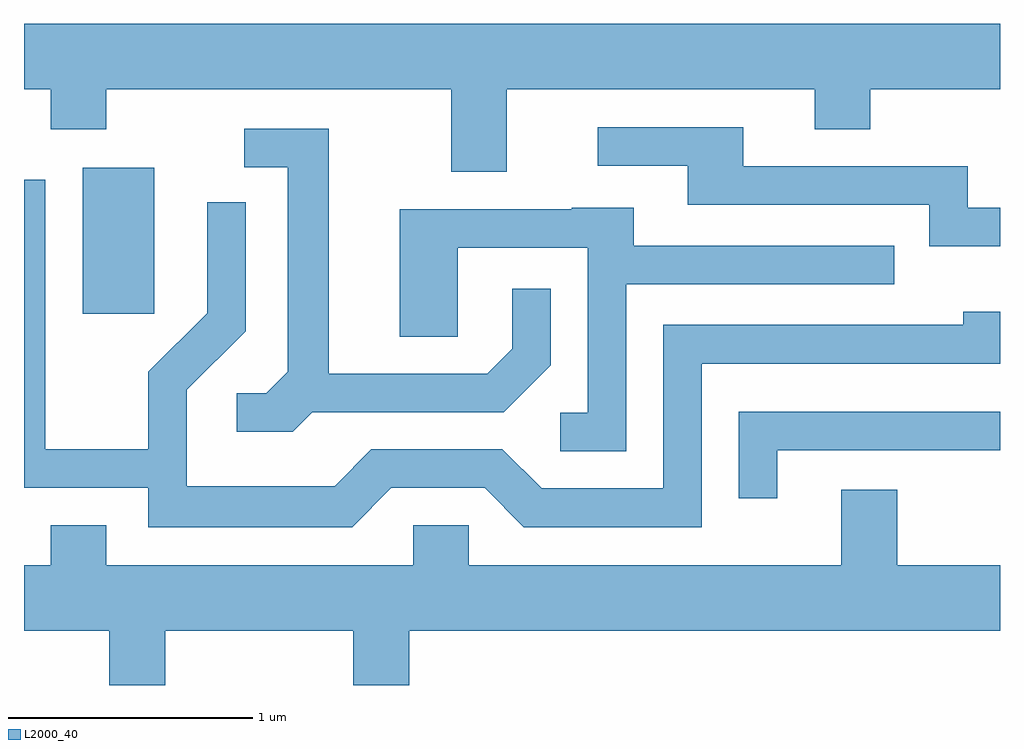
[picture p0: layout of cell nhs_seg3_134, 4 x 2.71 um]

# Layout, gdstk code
import gdstk
lib = gdstk.Library(unit=1e-6, precision=1e-09)
def R(c, l, rs):  # rectangles x0, y0, x1, y1
    for r in rs: c.add(gdstk.rectangle(r[:2], r[2:], *l))
def P(c, l, *ps):  # polygons
    for p in ps: c.add(gdstk.Polygon(p, *l))
L2000_40 = (2000, 40)

nhs_seg3_134 = lib.new_cell('nhs_seg3_134')
R(nhs_seg3_134, L2000_40, [(187.851,1249.416,188.144,1250.014)])
P(nhs_seg3_134, L2000_40, [(189.589,1250.336),(190.851,1250.336),(190.851,1250.171),(191.079,1250.171),(191.079,1250.336),(191.611,1250.336),(191.611,1250.604),(187.611,1250.604),(187.611,1250.336),(187.721,1250.336),(187.721,1250.171),(187.949,1250.171),(187.949,1250.336),(189.361,1250.336),(189.361,1249.996),(189.589,1249.996)],
  [(191.611,1249.849),(191.479,1249.849),(191.479,1250.019),(190.559,1250.019),(190.559,1250.179),(189.963,1250.179),(189.963,1250.021),(190.331,1250.021),(190.331,1249.861),(191.321,1249.861),(191.321,1249.691),(191.611,1249.691)],
  [(188.792,1249.011),(189.577,1249.011),(189.769,1249.204),(189.769,1249.518),(189.611,1249.518),(189.611,1249.272),(189.509,1249.169),(188.859,1249.169),(188.859,1250.174),(188.513,1250.174),(188.513,1250.016),(188.691,1250.016),(188.691,1249.177),(188.604,1249.089),(188.483,1249.089),(188.483,1248.931),(188.712,1248.931)],
  [(189.117,1248.701),(189.499,1248.701),(189.659,1248.541),(190.389,1248.541),(190.389,1249.211),(191.611,1249.211),(191.611,1249.424),(191.461,1249.424),(191.461,1249.369),(190.231,1249.369),(190.231,1248.699),(189.732,1248.699),(189.572,1248.859),(189.034,1248.859),(188.884,1248.709),(188.279,1248.709),(188.279,1249.104),(188.519,1249.344),(188.519,1249.873),(188.361,1249.873),(188.361,1249.417),(188.121,1249.177),(188.121,1248.859),(187.699,1248.859),(187.699,1249.964),(187.611,1249.964),(187.611,1248.701),(188.121,1248.701),(188.121,1248.541),(188.957,1248.541)],
  [(190.079,1249.536),(191.178,1249.536),(191.178,1249.694),(190.109,1249.694),(190.109,1249.849),(189.855,1249.849),(189.855,1249.844),(189.151,1249.844),(189.151,1249.321),(189.389,1249.321),(189.389,1249.686),(189.921,1249.686),(189.921,1249.009),(189.808,1249.009),(189.808,1248.851),(190.079,1248.851)],
  [(190.699,1248.856),(191.611,1248.856),(191.611,1249.014),(190.541,1249.014),(190.541,1248.658),(190.699,1248.658)],
  [(188.189,1248.116),(188.961,1248.116),(188.961,1247.892),(189.189,1247.892),(189.189,1248.116),(191.611,1248.116),(191.611,1248.384),(191.189,1248.384),(191.189,1248.694),(190.961,1248.694),(190.961,1248.384),(189.434,1248.384),(189.434,1248.549),(189.206,1248.549),(189.206,1248.384),(187.949,1248.384),(187.949,1248.549),(187.721,1248.549),(187.721,1248.384),(187.611,1248.384),(187.611,1248.116),(187.961,1248.116),(187.961,1247.892),(188.189,1247.892)])

lib.write_gds('nhs_seg3_134.gds')
